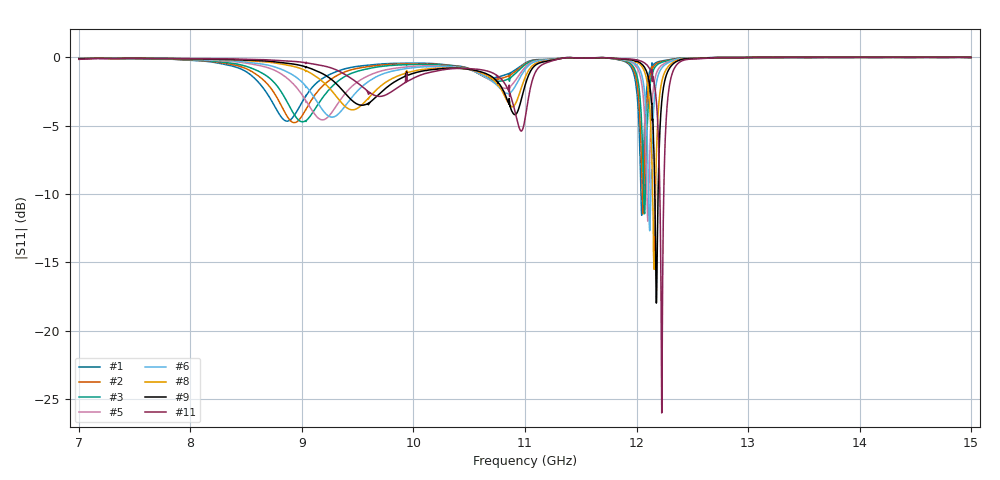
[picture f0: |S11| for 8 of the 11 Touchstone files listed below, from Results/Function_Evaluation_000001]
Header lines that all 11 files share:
! TOUCHSTONE file generated by CST DESIGN STUDIO
! Project name: C:\Work\MatlabApps\UnitCellType2OptimizationMatlab\CST\unitcell.cst
! Tree item: Tasks\Sweep1\SPara1\S-Parameters
! Header version: 2024
! Port assignment regex: !\s*Touchstone port\s*([0-9]+)\s*=\s*(CST MWS port|CST DES external port|CST DES block port)\s*(.+)\s* \(\"(.*)\"\)(\s*mode\s*([0-9]+))?.*
! Touchstone port assignment:
! Touchstone port 1 = CST DES external port 1 ("")
# GHz S MA R 50
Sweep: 7 GHz to 15 GHz
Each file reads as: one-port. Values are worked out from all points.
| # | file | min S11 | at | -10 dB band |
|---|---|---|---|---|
| 1 | DS_for_MWS-run-0001.s1p | -11.6 dB | 12.05 GHz | 15.02 MHz wide |
| 2 | DS_for_MWS-run-0002.s1p | -11.5 dB | 12.06 GHz | 14.83 MHz wide |
| 3 | DS_for_MWS-run-0003.s1p | -11.5 dB | 12.07 GHz | 14.73 MHz wide |
| 4 | DS_for_MWS-run-0004.s1p | -11.6 dB | 12.09 GHz | 15.4 MHz wide |
| 5 | DS_for_MWS-run-0005.s1p | -12.0 dB | 12.1 GHz | 17.03 MHz wide |
| 6 | DS_for_MWS-run-0006.s1p | -12.7 dB | 12.12 GHz | 19.77 MHz wide |
| 7 | DS_for_MWS-run-0007.s1p | -15.8 dB | 12.14 GHz | 25.11 MHz wide |
| 8 | DS_for_MWS-run-0008.s1p | -15.5 dB | 12.16 GHz | 26.61 MHz wide |
| 9 | DS_for_MWS-run-0009.s1p | -18.0 dB | 12.18 GHz | 29.13 MHz wide |
| 10 | DS_for_MWS-run-0010.s1p | -21.4 dB | 12.2 GHz | 32.72 MHz wide |
| 11 | DS_for_MWS-run-0011.s1p | -26.0 dB | 12.23 GHz | 35.01 MHz wide |
